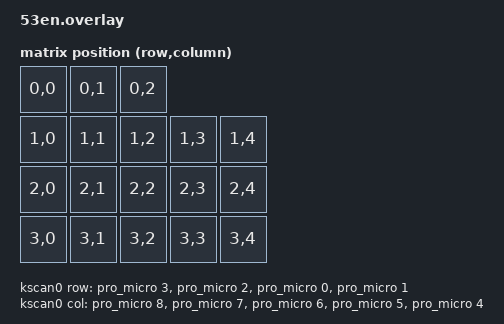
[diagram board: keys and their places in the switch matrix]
/ {
    kscan0: kscan0 {
        compatible = "zmk,kscan-gpio-matrix";
        diode-direction = "col2row";
        wakeup-source;

        col-gpios
            = <&pro_micro 8 GPIO_ACTIVE_HIGH>
            , <&pro_micro 7 GPIO_ACTIVE_HIGH>
            , <&pro_micro 6 GPIO_ACTIVE_HIGH>
            , <&pro_micro 5 GPIO_ACTIVE_HIGH>
            , <&pro_micro 4 GPIO_ACTIVE_HIGH>
            ;

        row-gpios
            = <&pro_micro 3 (GPIO_ACTIVE_HIGH | GPIO_PULL_DOWN)>
            , <&pro_micro 2 (GPIO_ACTIVE_HIGH | GPIO_PULL_DOWN)>
            , <&pro_micro 0 (GPIO_ACTIVE_HIGH | GPIO_PULL_DOWN)>
            , <&pro_micro 1 (GPIO_ACTIVE_HIGH | GPIO_PULL_DOWN)>
            ;
    };
};

#include <dt-bindings/zmk/matrix_transform.h> // Put this with the other includes at the top of your overlay

/ {
    default_transform: keymap_transform0 {
        compatible = "zmk,matrix-transform";
        columns = <5>; // Length of the "col-gpios" array
        rows = <4>; // Length of the "row-gpios" array
        map = <
        //   Key 1 | Key 2 | Key 3
            RC(0,0) RC(0,1) RC(0,2)
        //   Key 4 | Key 5 | Key 6 | Key 7 | Key 8
            RC(1,0) RC(1,1) RC(1,2) RC(1,3) RC(1,4)
        //   Key 9 | Key 10 | Key 11 | Key 12 | Key 13
            RC(2,0) RC(2,1) RC(2,2) RC(2,3) RC(2,4)
        //   Key 14 | Key 15 | Key 16 | Key 17 | Key 18
            RC(3,0) RC(3,1) RC(3,2) RC(3,3) RC(3,4)
        >;
    };
};

/ {
    default_layout: default_layout {
        compatible = "zmk,physical-layout";
        display-name = "Default Layout";
        transform = <&default_transform>;
        kscan = <&kscan0>;
    };
};

/ {
    chosen {
        zmk,physical-layout = &default_layout;
        // Other chosen items
    };
};

    encoder_left: encoder_left {
        compatible = "alps,ec11";
        a-gpios = <10 (GPIO_ACTIVE_HIGH | GPIO_PULL_UP)>;
        b-gpios = <16 (GPIO_ACTIVE_HIGH | GPIO_PULL_UP)>;
        steps = <80>;
        status = "disabled";
    };

    encoder_mid: encoder_mid {
        compatible = "alps,ec11";
        a-gpios = <14 (GPIO_ACTIVE_HIGH | GPIO_PULL_UP)>;
        b-gpios = <15 (GPIO_ACTIVE_HIGH | GPIO_PULL_UP)>;
        steps = <80>;
        status = "disabled";
    };
    encoder_right: encoder_right {
        compatible = "alps,ec11";
        a-gpios = <18 (GPIO_ACTIVE_HIGH | GPIO_PULL_UP)>;
        b-gpios = <19 (GPIO_ACTIVE_HIGH | GPIO_PULL_UP)>;
        steps = <80>;
        status = "disabled";
    };

    sensors: sensors {
        compatible = "zmk,keymap-sensors";
        triggers-per-rotation = <20>;
    };
